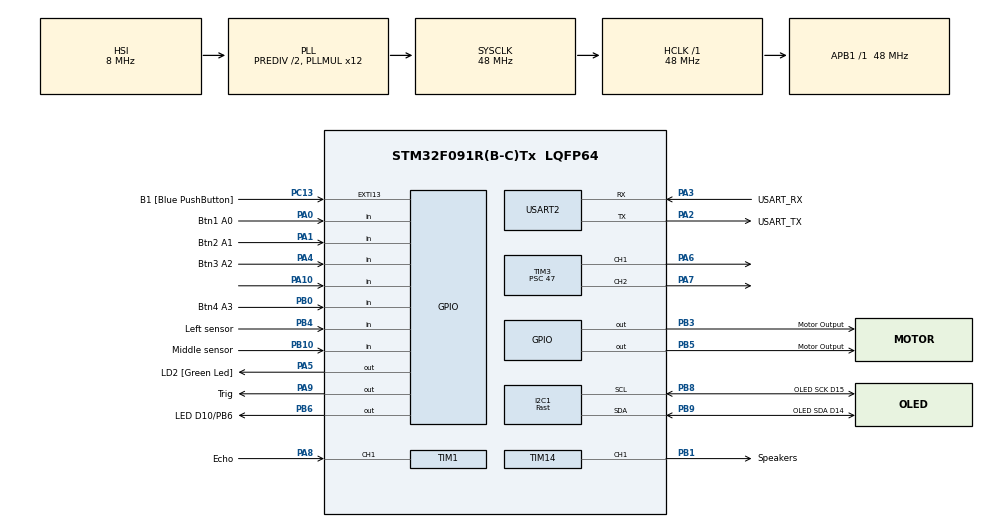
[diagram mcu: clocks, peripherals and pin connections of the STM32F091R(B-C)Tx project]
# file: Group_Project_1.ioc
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FREERTOS.Tasks01=lineFollowing,40,128,lineFollowingTask,Default,NULL,Dynamic,NULL,NULL;buttonPoll,16,256,buttonPollTask,Default,NULL,Dynamic,NULL,NULL;ultrasonicLoop,8,128,ultrasonicTask,Default,NULL,Dynamic,NULL,NULL;sponsors,8,128,sponsorsTask,Default,NULL,Dynamic,NULL,NULL;speaker,8,128,speakerTask,Default,NULL,Dynamic,NULL,NULL
FREERTOS.configMINIMAL_STACK_SIZE=64
FREERTOS.configTOTAL_HEAP_SIZE=4096
I2C1.I2C_Speed_Mode=I2C_Fast
I2C1.Timing=0x0010020A
Mcu.Family=STM32F0
Mcu.Name=STM32F091R(B-C)Tx
Mcu.Package=LQFP64
NVIC.TIM1_CC_IRQn=true\:3\:0\:false\:false\:true\:true\:true\:true\:true
NVIC.TIM6_DAC_IRQn=true\:3\:0\:false\:false\:true\:false\:false\:true\:true
NVIC.TimeBase=TIM6_DAC_IRQn
NVIC.TimeBaseIP=TIM6
PA0.GPIO_Label=Btn1 A0
PA0.GPIO_PuPd=GPIO_PULLDOWN
PA0.Signal=GPIO_Input
PA1.GPIO_Label=Btn2 A1
PA1.GPIO_PuPd=GPIO_PULLDOWN
PA1.Signal=GPIO_Input
PA10.Signal=GPIO_Input
PA13.GPIO_Label=TMS
PA13.Mode=Serial_Wire
PA13.Signal=SYS_SWDIO
PA14.GPIO_Label=TCK
PA14.Mode=Serial_Wire
PA14.Signal=SYS_SWCLK
PA2.GPIO_Label=USART_TX
PA2.GPIO_Mode=GPIO_MODE_AF_PP
PA2.GPIO_PuPd=GPIO_NOPULL
PA2.GPIO_Speed=GPIO_SPEED_FREQ_LOW
PA2.Mode=Asynchronous
PA2.Signal=USART2_TX
PA3.GPIO_Label=USART_RX
PA3.GPIO_Mode=GPIO_MODE_AF_PP
PA3.GPIO_PuPd=GPIO_NOPULL
PA3.GPIO_Speed=GPIO_SPEED_FREQ_LOW
PA3.Mode=Asynchronous
PA3.Signal=USART2_RX
PA4.GPIO_Label=Btn3 A2
PA4.GPIO_PuPd=GPIO_PULLDOWN
PA4.Signal=GPIO_Input
PA5.GPIO_Label=LD2 [Green Led]
PA5.GPIO_PuPd=GPIO_NOPULL
PA5.GPIO_Speed=GPIO_SPEED_FREQ_LOW
PA5.Signal=GPIO_Output
PA6.Signal=S_TIM3_CH1
PA7.Signal=S_TIM3_CH2
PA8.GPIO_Label=Echo 
PA8.Signal=S_TIM1_CH1
PA9.GPIO_Label=Trig
PA9.Signal=GPIO_Output
PB0.GPIO_Label=Btn4 A3
PB0.GPIO_PuPd=GPIO_PULLDOWN
PB0.Signal=GPIO_Input
PB1.GPIO_Label=Speakers
PB1.Signal=S_TIM14_CH1
PB10.GPIO_Label=Middle sensor
PB10.Signal=GPIO_Input
PB3.GPIO_Label=Motor Output
PB3.Signal=GPIO_Output
PB4.GPIO_Label=Left sensor
PB4.Signal=GPIO_Input
PB5.GPIO_Label=Motor Output
PB5.Signal=GPIO_Output
PB6.GPIO_Label=LED D10/PB6
PB6.GPIO_PuPd=GPIO_NOPULL
PB6.Signal=GPIO_Output
PB8.GPIO_Label=OLED SCK D15
PB8.Mode=I2C
PB8.Signal=I2C1_SCL
PB9.GPIO_Label=OLED SDA D14
PB9.Mode=I2C
PB9.Signal=I2C1_SDA
PC13.GPIO_Label=B1 [Blue PushButton]
PC13.GPIO_ModeDefaultEXTI=GPIO_MODE_IT_FALLING
PC13.Signal=GPXTI13
PC14OSC32_IN.Mode=LSE-External-Oscillator
PC14OSC32_IN.Signal=RCC_OSC32_IN
PC15OSC32_OUT.Mode=LSE-External-Oscillator
PC15OSC32_OUT.Signal=RCC_OSC32_OUT
PF0-OSC_IN.Mode=HSE-External-Clock-Source
PF0-OSC_IN.Signal=RCC_OSC_IN
PF1-OSC_OUT.Signal=RCC_OSC_OUT
ProjectManager.HeapSize=0x200
ProjectManager.StackSize=0x400
ProjectManager.TargetToolchain=STM32CubeIDE
RCC.AHBFreq_Value=48000000
RCC.APB1Freq_Value=48000000
RCC.APB1TimFreq_Value=48000000
RCC.FLatency-AdvancedSettings=FLASH_LATENCY_1
RCC.HCLKFreq_Value=48000000
RCC.PLLDivider=RCC_PREDIV_DIV2
RCC.PLLMUL=RCC_PLL_MUL12
RCC.PREFETCH_ENABLE-AdvancedSettings=1
RCC.SYSCLKFreq_VALUE=48000000
RCC.SYSCLKSource=RCC_SYSCLKSOURCE_PLLCLK
SH.S_TIM14_CH1.0=TIM14_CH1,PWM Generation1 CH1
SH.S_TIM1_CH1.0=TIM1_CH1,Input_Capture1_from_TI1
SH.S_TIM3_CH1.0=TIM3_CH1,PWM Generation1 CH1
SH.S_TIM3_CH2.0=TIM3_CH2,PWM Generation2 CH2
TIM1.Channel-Input_Capture1_from_TI1=TIM_CHANNEL_1
TIM1.Prescaler=47
TIM14.Channel=TIM_CHANNEL_1
TIM3.Channel-PWM\ Generation1\ CH1=TIM_CHANNEL_1
TIM3.Channel-PWM\ Generation2\ CH2=TIM_CHANNEL_2
TIM3.Period=999
TIM3.Prescaler=47
USART2.VirtualMode=VM_ASYNC
USART2.VirtualMode-Asynchronous=VM_ASYNC
VP_FREERTOS_VS_CMSIS_V2.Mode=CMSIS_V2
VP_SYS_VS_tim6.Mode=TIM6
VP_TIM14_VS_ClockSourceINT.Mode=Enable_Timer
VP_TIM3_VS_ClockSourceINT.Mode=Internal
board=NUCLEO-F091RC

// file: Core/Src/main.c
/* USER CODE BEGIN Header */
/**
 ******************************************************************************
 * @file           : main.c
 * @brief          : Main program body
 ******************************************************************************
 * @attention
 *
 * Copyright (c) 2025 STMicroelectronics.
 * All rights reserved.
 *
 * This software is licensed under terms that can be found in the LICENSE file
 * in the root directory of this software component.
 * If no LICENSE file comes with this software, it is provided AS-IS.
 *
 ******************************************************************************
 */
/* USER CODE END Header */
#include "main.h"
#include "cmsis_os.h"

/* USER CODE BEGIN Includes */
#include "fonts.h"
#include "ssd1306.h"
#include "task.h"
#include "line_following.h"
#include <stdio.h>
#include <string.h>
/* USER CODE END Includes */

/* USER CODE BEGIN PD */
int go;
int hazard;
int complete_lap;
int finished;

#define Do  0.5f
#define Re  0.45f
#define Mi  0.4f
#define Fa  0.36f
#define So  0.33f
#define La  0.31f
#define Si  0.3f
#define No  0.0f   // No sound (pause)
// Beat durations (in seconds)
#define b1  0.5f
#define b2  0.25f
#define b3  0.125f
#define b4  0.075f

volatile uint8_t volume_high = 1;   // high or low volume for the speaker
volatile uint16_t k = 0;
// Melody definition
// Current note index

float note[] = { Re, Fa, Fa, Re, Mi, So, So, No, Mi, Fa, Fa, Re, Mi, So, So, No,
		Do, Mi, Re, No, Do, Re, No, Mi, Fa, So, No, So, No, So, Fa, Mi, So, No,
		So, Fa, Re, No, Re, No, };
float beat[] = { b1, b2, b2, b2, b2, b2, b2, b1, b1, b2, b3, b3, b1, b3, b2, b1,
		b3, b4, b3, b3, b3, b3, b3, b1, b1, b1, b2, b1, b2, b2, b3, b3, b4, b2,
		b2, b2, b2, b3, b1, b1, };
//start up tune
uint16_t noteCount;

float note2[] = { Do, So, No, Do, So, No };
float beat2[] = { b3, b3, b4, b3, b3, b4 };
//alarm/hazard tune
//note sequence and length
uint16_t noteCount_2;
/* USER CODE END PD */

I2C_HandleTypeDef hi2c1;

TIM_HandleTypeDef htim1;
TIM_HandleTypeDef htim3;
TIM_HandleTypeDef htim14;

UART_HandleTypeDef huart2;

/* Definitions for lineFollowing */
osThreadId_t lineFollowingHandle;
const osThreadAttr_t lineFollowing_attributes = {
  .name = "lineFollowing",
  .stack_size = 128 * 4,
  .priority = (osPriority_t) osPriorityHigh,
};
/* Definitions for buttonPoll */
osThreadId_t buttonPollHandle;
const osThreadAttr_t buttonPoll_attributes = {
  .name = "buttonPoll",
  .stack_size = 256 * 4,
  .priority = (osPriority_t) osPriorityBelowNormal,
};
/* Definitions for ultrasonicLoop */
osThreadId_t ultrasonicLoopHandle;
const osThreadAttr_t ultrasonicLoop_attributes = {
  .name = "ultrasonicLoop",
  .stack_size = 128 * 4,
  .priority = (osPriority_t) osPriorityLow,
};
/* Definitions for sponsors */
osThreadId_t sponsorsHandle;
const osThreadAttr_t sponsors_attributes = {
  .name = "sponsors",
  .stack_size = 128 * 4,
  .priority = (osPriority_t) osPriorityLow,
};
/* Definitions for speaker */
osThreadId_t speakerHandle;
const osThreadAttr_t speaker_attributes = {
  .name = "speaker",
  .stack_size = 128 * 4,
  .priority = (osPriority_t) osPriorityLow,
};
/* USER CODE BEGIN PV */

// State flags
uint8_t show_logo = 1;
uint8_t moving_forward = 0;
bool object_in_path = false;

// Button debounce
#define DEBOUNCE_MS 200
uint32_t btn1_last = 0;
uint32_t btn2_last = 0;
uint32_t btn3_last = 0;
uint32_t btn4_last = 0;

#define LOGO_LED_GPIO_PORT   GPIOB
#define LOGO_LED_PIN         GPIO_PIN_6   // D10

void blink_logo_led(uint8_t times);

/* USER CODE END PV */

void SystemClock_Config(void);
static void MX_GPIO_Init(void);
static void MX_USART2_UART_Init(void);
static void MX_I2C1_Init(void);
static void MX_TIM1_Init(void);
static void MX_TIM3_Init(void);
static void MX_TIM14_Init(void);
void lineFollowingTask(void *argument);
void buttonPollTask(void *argument);
void ultrasonicTask(void *argument);
void sponsorsTask(void *argument);
void speakerTask(void *argument);

/* USER CODE BEGIN PFP */
void delay(uint16_t time);
void HCSR04_Read(void);

void display_menu(void);
void display_logo(void);
void display_lap_times(void);
void blink_logo_led(uint8_t times);
void poll_buttons(void);
/* USER CODE END PFP */

/* USER CODE BEGIN 0 */

uint32_t IC_Val1 = 0;
uint32_t IC_Val2 = 0;
uint32_t Difference = 0;
uint8_t Is_First_Captured = 0;
uint16_t Distance = 0;
uint16_t Last_Valid_Distance = 0;
uint8_t sponsor_index = 0;
bool is_sponsor_loop = false;
int sponsor_loop_index = 0;
bool lap_display = false;
int lap_display_index = 0;
bool request_playNote = false;
bool request_playNote2 = false;
uint32_t stopped_start_tick;
bool stored_stop_tick = false;
uint32_t button_stopped_start_tick;
bool button_stored_stop_tick = false;
bool last_lap_displayed_raw = false;
int ultrasonic_count = 0;

#define TRIG_PIN GPIO_PIN_9
#define TRIG_PORT GPIOA

// Let's write the callback function
// HCSR-04 Tutorial used, source: https://www.youtube.com/watch?v=ti_1ZwRolU4&t=7s

void delay(uint16_t time) {
	__HAL_TIM_SET_COUNTER(&htim1, 0);
	while (__HAL_TIM_GET_COUNTER(&htim1) < time)
		;
}

void HAL_TIM_IC_CaptureCallback(TIM_HandleTypeDef *htim) {
	if (htim->Channel == HAL_TIM_ACTIVE_CHANNEL_1) // if the interrupt source is channel1
			{
		if (Is_First_Captured == 0) // if the first value is not captured
				{
			IC_Val1 = HAL_TIM_ReadCapturedValue(htim, TIM_CHANNEL_1); // read the first value
			Is_First_Captured = 1;  // set the first captured as true
			// Now change the polarity to falling edge
			__HAL_TIM_SET_CAPTUREPOLARITY(htim, TIM_CHANNEL_1,
					TIM_INPUTCHANNELPOLARITY_FALLING);
		}

		else if (Is_First_Captured == 1)   // if the first is already captured
				{
			IC_Val2 = HAL_TIM_ReadCapturedValue(htim, TIM_CHANNEL_1); // read second value
			__HAL_TIM_SET_COUNTER(htim, 0);  // reset the counter

			if (IC_Val2 > IC_Val1) {
				Difference = IC_Val2 - IC_Val1;
			}

			else if (IC_Val1 > IC_Val2) {
				Difference = (0xffff - IC_Val1) + IC_Val2;
			}

			Distance = Difference * 0.034 / 2;

//			if (newDistance <= 50) {
//				// Accept the reading
//				Distance = newDistance;
//				Last_Valid_Distance = newDistance;
//			} else {
//				// Ignore bad values, keep last good one
//				Distance = Last_Valid_Distance;
//			}

			Is_First_Captured = 0; // set it back to false

			// set polarity to rising edge
			__HAL_TIM_SET_CAPTUREPOLARITY(htim, TIM_CHANNEL_1,
					TIM_INPUTCHANNELPOLARITY_RISING);
			__HAL_TIM_DISABLE_IT(&htim1, TIM_IT_CC1);
		}
	}
}

void HCSR04_Read(void) {
	taskENTER_CRITICAL(); // disable interrupts for timing
	HAL_GPIO_WritePin(TRIG_PORT, TRIG_PIN, GPIO_PIN_SET); // pull the TRIG pin HIGH
	delay(10);  // wait for 10 us
	HAL_GPIO_WritePin(TRIG_PORT, TRIG_PIN, GPIO_PIN_RESET); // pull the TRIG pin low

	__HAL_TIM_ENABLE_IT(&htim1, TIM_IT_CC1);
	taskEXIT_CRITICAL(); // enable interrupts
}

char string[20];

void playNote(void) {
	for (k = 0; k < noteCount; k++) {
// If "No" (pause), turn speaker PWM off
		if (note[k] == No) {
			__HAL_TIM_SET_COMPARE(&htim14, TIM_CHANNEL_1, 0);
		} else {
// Calculate PWM period for this note
			float period = 0.005f * note[k];
			uint32_t timerClock = HAL_RCC_GetPCLK1Freq();
			uint32_t prescaler = htim14.Init.Prescaler + 1;
			uint32_t arr = (uint32_t) ((timerClock / prescaler) * period);
			__HAL_TIM_SET_AUTORELOAD(&htim14, arr);
// Set PWM duty cycle (volume)
			uint32_t duty = volume_high ? (arr * 0.8f) : (arr * 0.1f);
			__HAL_TIM_SET_COMPARE(&htim14, TIM_CHANNEL_1, duty);

			osDelay((uint32_t) ((beat[k] * 1000 + 200)));
		}
	}
}
void playNote2(void) {
	for (k = 0; k < noteCount_2; k++) {
		if (note2[k] == No) {
			__HAL_TIM_SET_COMPARE(&htim14, TIM_CHANNEL_1, 0);
		} else {
			float period = 0.005f * note2[k];
			uint32_t timerClock = HAL_RCC_GetPCLK1Freq();
			uint32_t prescaler = htim14.Init.Prescaler + 1;
			uint32_t arr = (uint32_t) ((timerClock / prescaler) * period);

			__HAL_TIM_SET_AUTORELOAD(&htim14, arr);
			uint32_t duty = volume_high ? (arr * 0.8f) : (arr * 0.1f);
			__HAL_TIM_SET_COMPARE(&htim14, TIM_CHANNEL_1, duty);

			osDelay((uint32_t) ((beat2[k] * 1000 + 200)));
		}
	}
}
/* USER CODE END 0 */

int main(void)
{

  /* MCU Configuration--------------------------------------------------------*/

  /* Reset of all peripherals, Initializes the Flash interface and the Systick. */
  HAL_Init();

  /* Configure the system clock */
  SystemClock_Config();

  /* Initialize all configured peripherals */
  MX_GPIO_Init();
  MX_USART2_UART_Init();
  MX_I2C1_Init();
  MX_TIM1_Init();
  MX_TIM3_Init();
  MX_TIM14_Init();
  /* USER CODE BEGIN 2 */
	SSD1306_Init();
	display_menu();
	HAL_TIM_Base_Start(&htim1);
	HAL_TIM_IC_Start_IT(&htim1, TIM_CHANNEL_1);
	HAL_TIM_PWM_Start(&htim3, TIM_CHANNEL_1);
	HAL_TIM_PWM_Start(&htim3, TIM_CHANNEL_2);
	HAL_TIM_PWM_Start(&htim14, TIM_CHANNEL_1); // Speaker

  /* USER CODE END 2 */

  /* Init scheduler */
  osKernelInitialize();

  /* Create the thread(s) */
  /* creation of lineFollowing */
  lineFollowingHandle = osThreadNew(lineFollowingTask, NULL, &lineFollowing_attributes);

  /* creation of buttonPoll */
  buttonPollHandle = osThreadNew(buttonPollTask, NULL, &buttonPoll_attributes);

  /* creation of ultrasonicLoop */
  ultrasonicLoopHandle = osThreadNew(ultrasonicTask, NULL, &ultrasonicLoop_attributes);

  /* creation of sponsors */
  sponsorsHandle = osThreadNew(sponsorsTask, NULL, &sponsors_attributes);

  /* creation of speaker */
  speakerHandle = osThreadNew(speakerTask, NULL, &speaker_attributes);

  /* Start scheduler */
  osKernelStart();

  /* We should never get here as control is now taken by the scheduler */

  /* Infinite loop */
	while (1) {

	}
}

void SystemClock_Config(void)
{
  RCC_OscInitTypeDef RCC_OscInitStruct = {0};
  RCC_ClkInitTypeDef RCC_ClkInitStruct = {0};
  RCC_PeriphCLKInitTypeDef PeriphClkInit = {0};

  /** Initializes the RCC Oscillators according to the specified parameters
  * in the RCC_OscInitTypeDef structure.
  */
  RCC_OscInitStruct.OscillatorType = RCC_OSCILLATORTYPE_HSI;
  RCC_OscInitStruct.HSIState = RCC_HSI_ON;
  RCC_OscInitStruct.HSICalibrationValue = RCC_HSICALIBRATION_DEFAULT;
  RCC_OscInitStruct.PLL.PLLState = RCC_PLL_ON;
  RCC_OscInitStruct.PLL.PLLSource = RCC_PLLSOURCE_HSI;
  RCC_OscInitStruct.PLL.PLLMUL = RCC_PLL_MUL12;
  RCC_OscInitStruct.PLL.PREDIV = RCC_PREDIV_DIV2;
  if (HAL_RCC_OscConfig(&RCC_OscInitStruct) != HAL_OK)
  {
    Error_Handler();
  }

  /** Initializes the CPU, AHB and APB buses clocks
  */
  RCC_ClkInitStruct.ClockType = RCC_CLOCKTYPE_HCLK|RCC_CLOCKTYPE_SYSCLK
                              |RCC_CLOCKTYPE_PCLK1;
  RCC_ClkInitStruct.SYSCLKSource = RCC_SYSCLKSOURCE_PLLCLK;
  RCC_ClkInitStruct.AHBCLKDivider = RCC_SYSCLK_DIV1;
  RCC_ClkInitStruct.APB1CLKDivider = RCC_HCLK_DIV1;

  if (HAL_RCC_ClockConfig(&RCC_ClkInitStruct, FLASH_LATENCY_1) != HAL_OK)
  {
    Error_Handler();
  }
  PeriphClkInit.PeriphClockSelection = RCC_PERIPHCLK_USART2|RCC_PERIPHCLK_I2C1;
  PeriphClkInit.Usart2ClockSelection = RCC_USART2CLKSOURCE_PCLK1;
  PeriphClkInit.I2c1ClockSelection = RCC_I2C1CLKSOURCE_HSI;
  if (HAL_RCCEx_PeriphCLKConfig(&PeriphClkInit) != HAL_OK)
  {
    Error_Handler();
  }
}

static void MX_I2C1_Init(void)
{

  hi2c1.Instance = I2C1;
  hi2c1.Init.Timing = 0x0010020A;
  hi2c1.Init.OwnAddress1 = 0;
  hi2c1.Init.AddressingMode = I2C_ADDRESSINGMODE_7BIT;
  hi2c1.Init.DualAddressMode = I2C_DUALADDRESS_DISABLE;
  hi2c1.Init.OwnAddress2 = 0;
  hi2c1.Init.OwnAddress2Masks = I2C_OA2_NOMASK;
  hi2c1.Init.GeneralCallMode = I2C_GENERALCALL_DISABLE;
  hi2c1.Init.NoStretchMode = I2C_NOSTRETCH_DISABLE;
  if (HAL_I2C_Init(&hi2c1) != HAL_OK)
  {
    Error_Handler();
  }

  /** Configure Analogue filter
  */
  if (HAL_I2CEx_ConfigAnalogFilter(&hi2c1, I2C_ANALOGFILTER_ENABLE) != HAL_OK)
  {
    Error_Handler();
  }

  /** Configure Digital filter
  */
  if (HAL_I2CEx_ConfigDigitalFilter(&hi2c1, 0) != HAL_OK)
  {
    Error_Handler();
  }

}

static void MX_TIM1_Init(void)
{

  TIM_MasterConfigTypeDef sMasterConfig = {0};
  TIM_IC_InitTypeDef sConfigIC = {0};

  htim1.Instance = TIM1;
  htim1.Init.Prescaler = 47;
  htim1.Init.CounterMode = TIM_COUNTERMODE_UP;
  htim1.Init.Period = 65535;
  htim1.Init.ClockDivision = TIM_CLOCKDIVISION_DIV1;
  htim1.Init.RepetitionCounter = 0;
  htim1.Init.AutoReloadPreload = TIM_AUTORELOAD_PRELOAD_DISABLE;
  if (HAL_TIM_IC_Init(&htim1) != HAL_OK)
  {
    Error_Handler();
  }
  sMasterConfig.MasterOutputTrigger = TIM_TRGO_RESET;
  sMasterConfig.MasterSlaveMode = TIM_MASTERSLAVEMODE_DISABLE;
  if (HAL_TIMEx_MasterConfigSynchronization(&htim1, &sMasterConfig) != HAL_OK)
  {
    Error_Handler();
  }
  sConfigIC.ICPolarity = TIM_INPUTCHANNELPOLARITY_RISING;
  sConfigIC.ICSelection = TIM_ICSELECTION_DIRECTTI;
  sConfigIC.ICPrescaler = TIM_ICPSC_DIV1;
  sConfigIC.ICFilter = 0;
  if (HAL_TIM_IC_ConfigChannel(&htim1, &sConfigIC, TIM_CHANNEL_1) != HAL_OK)
  {
    Error_Handler();
  }

}

static void MX_TIM3_Init(void)
{

  TIM_ClockConfigTypeDef sClockSourceConfig = {0};
  TIM_MasterConfigTypeDef sMasterConfig = {0};
  TIM_OC_InitTypeDef sConfigOC = {0};

  htim3.Instance = TIM3;
  htim3.Init.Prescaler = 47;
  htim3.Init.CounterMode = TIM_COUNTERMODE_UP;
  htim3.Init.Period = 999;
  htim3.Init.ClockDivision = TIM_CLOCKDIVISION_DIV1;
  htim3.Init.AutoReloadPreload = TIM_AUTORELOAD_PRELOAD_DISABLE;
  if (HAL_TIM_Base_Init(&htim3) != HAL_OK)
  {
    Error_Handler();
  }
  sClockSourceConfig.ClockSource = TIM_CLOCKSOURCE_INTERNAL;
  if (HAL_TIM_ConfigClockSource(&htim3, &sClockSourceConfig) != HAL_OK)
  {
    Error_Handler();
  }
  if (HAL_TIM_PWM_Init(&htim3) != HAL_OK)
  {
    Error_Handler();
  }
  sMasterConfig.MasterOutputTrigger = TIM_TRGO_RESET;
  sMasterConfig.MasterSlaveMode = TIM_MASTERSLAVEMODE_DISABLE;
  if (HAL_TIMEx_MasterConfigSynchronization(&htim3, &sMasterConfig) != HAL_OK)
  {
    Error_Handler();
  }
  sConfigOC.OCMode = TIM_OCMODE_PWM1;
  sConfigOC.Pulse = 0;
  sConfigOC.OCPolarity = TIM_OCPOLARITY_HIGH;
  sConfigOC.OCFastMode = TIM_OCFAST_DISABLE;
  if (HAL_TIM_PWM_ConfigChannel(&htim3, &sConfigOC, TIM_CHANNEL_1) != HAL_OK)
  {
    Error_Handler();
  }
  if (HAL_TIM_PWM_ConfigChannel(&htim3, &sConfigOC, TIM_CHANNEL_2) != HAL_OK)
  {
    Error_Handler();
  }
  HAL_TIM_MspPostInit(&htim3);

}

static void MX_TIM14_Init(void)
{

  TIM_OC_InitTypeDef sConfigOC = {0};

  htim14.Instance = TIM14;
  htim14.Init.Prescaler = 0;
  htim14.Init.CounterMode = TIM_COUNTERMODE_UP;
  htim14.Init.Period = 65535;
  htim14.Init.ClockDivision = TIM_CLOCKDIVISION_DIV1;
  htim14.Init.AutoReloadPreload = TIM_AUTORELOAD_PRELOAD_DISABLE;
  if (HAL_TIM_Base_Init(&htim14) != HAL_OK)
  {
    Error_Handler();
  }
  if (HAL_TIM_PWM_Init(&htim14) != HAL_OK)
  {
    Error_Handler();
  }
  sConfigOC.OCMode = TIM_OCMODE_PWM1;
  sConfigOC.Pulse = 0;
  sConfigOC.OCPolarity = TIM_OCPOLARITY_HIGH;
  sConfigOC.OCFastMode = TIM_OCFAST_DISABLE;
  if (HAL_TIM_PWM_ConfigChannel(&htim14, &sConfigOC, TIM_CHANNEL_1) != HAL_OK)
  {
    Error_Handler();
  }
  HAL_TIM_MspPostInit(&htim14);

}

static void MX_USART2_UART_Init(void)
{

  huart2.Instance = USART2;
  huart2.Init.BaudRate = 115200;
  huart2.Init.WordLength = UART_WORDLENGTH_8B;
  huart2.Init.StopBits = UART_STOPBITS_1;
  huart2.Init.Parity = UART_PARITY_NONE;
  huart2.Init.Mode = UART_MODE_TX_RX;
  huart2.Init.HwFlowCtl = UART_HWCONTROL_NONE;
  huart2.Init.OverSampling = UART_OVERSAMPLING_16;
  huart2.Init.OneBitSampling = UART_ONE_BIT_SAMPLE_DISABLE;
  huart2.AdvancedInit.AdvFeatureInit = UART_ADVFEATURE_NO_INIT;
  if (HAL_UART_Init(&huart2) != HAL_OK)
  {
    Error_Handler();
  }

}

static void MX_GPIO_Init(void)
{
  GPIO_InitTypeDef GPIO_InitStruct = {0};

  /* GPIO Ports Clock Enable */
  __HAL_RCC_GPIOC_CLK_ENABLE();
  __HAL_RCC_GPIOF_CLK_ENABLE();
  __HAL_RCC_GPIOA_CLK_ENABLE();
  __HAL_RCC_GPIOB_CLK_ENABLE();

  /*Configure GPIO pin Output Level */
  HAL_GPIO_WritePin(GPIOA, LD2_Pin|Trig_Pin, GPIO_PIN_RESET);

  /*Configure GPIO pin Output Level */
  HAL_GPIO_WritePin(GPIOB, Motor_Output_Pin|Motor_OutputB5_Pin|LED_D10_PB6_Pin, GPIO_PIN_RESET);

  /*Configure GPIO pin : B1_Pin */
  GPIO_InitStruct.Pin = B1_Pin;
  GPIO_InitStruct.Mode = GPIO_MODE_IT_FALLING;
  GPIO_InitStruct.Pull = GPIO_NOPULL;
  HAL_GPIO_Init(B1_GPIO_Port, &GPIO_InitStruct);

  /*Configure GPIO pins : Btn1_A0_Pin Btn2_A1_Pin Btn3_A2_Pin */
  GPIO_InitStruct.Pin = Btn1_A0_Pin|Btn2_A1_Pin|Btn3_A2_Pin;
  GPIO_InitStruct.Mode = GPIO_MODE_INPUT;
  GPIO_InitStruct.Pull = GPIO_PULLDOWN;
  HAL_GPIO_Init(GPIOA, &GPIO_InitStruct);

  /*Configure GPIO pins : LD2_Pin Trig_Pin */
  GPIO_InitStruct.Pin = LD2_Pin|Trig_Pin;
  GPIO_InitStruct.Mode = GPIO_MODE_OUTPUT_PP;
  GPIO_InitStruct.Pull = GPIO_NOPULL;
  GPIO_InitStruct.Speed = GPIO_SPEED_FREQ_LOW;
  HAL_GPIO_Init(GPIOA, &GPIO_InitStruct);

  /*Configure GPIO pin : Btn4_A3_Pin */
  GPIO_InitStruct.Pin = Btn4_A3_Pin;
  GPIO_InitStruct.Mode = GPIO_MODE_INPUT;
  GPIO_InitStruct.Pull = GPIO_PULLDOWN;
  HAL_GPIO_Init(Btn4_A3_GPIO_Port, &GPIO_InitStruct);

  /*Configure GPIO pins : Middle_sensor_Pin Left_sensor_Pin */
  GPIO_InitStruct.Pin = Middle_sensor_Pin|Left_sensor_Pin;
  GPIO_InitStruct.Mode = GPIO_MODE_INPUT;
  GPIO_InitStruct.Pull = GPIO_NOPULL;
  HAL_GPIO_Init(GPIOB, &GPIO_InitStruct);

  /*Configure GPIO pin : PA10 */
  GPIO_InitStruct.Pin = GPIO_PIN_10;
  GPIO_InitStruct.Mode = GPIO_MODE_INPUT;
  GPIO_InitStruct.Pull = GPIO_NOPULL;
  HAL_GPIO_Init(GPIOA, &GPIO_InitStruct);

  /*Configure GPIO pins : Motor_Output_Pin Motor_OutputB5_Pin LED_D10_PB6_Pin */
  GPIO_InitStruct.Pin = Motor_Output_Pin|Motor_OutputB5_Pin|LED_D10_PB6_Pin;
  GPIO_InitStruct.Mode = GPIO_MODE_OUTPUT_PP;
  GPIO_InitStruct.Pull = GPIO_NOPULL;
  GPIO_InitStruct.Speed = GPIO_SPEED_FREQ_LOW;
  HAL_GPIO_Init(GPIOB, &GPIO_InitStruct);

}

/* USER CODE BEGIN 4 */
void display_menu(void) {
	taskENTER_CRITICAL(); // disable interrupts
	SSD1306_Clear();

	SSD1306_GotoXY(5, 0);
	SSD1306_Puts("B1: Sponsors", &Font_7x10, 1);

	SSD1306_GotoXY(5, 12);
	SSD1306_Puts("B2: Lap Times", &Font_7x10, 1);

	SSD1306_GotoXY(5, 24);
	SSD1306_Puts("B3: Line Following", &Font_7x10, 1);

	SSD1306_GotoXY(5, 36);
	SSD1306_Puts("B4: Main Menu", &Font_7x10, 1);

	SSD1306_UpdateScreen();
	taskEXIT_CRITICAL(); // enable interrupts
}

const char *sponsors[3] = { "DMC Motors", "Libyan Plutonium",
		"BiffCo Enterprise" };

// DMC logo
void draw_dmc_logo(void) {
	taskENTER_CRITICAL(); // disable interrupts

	SSD1306_DrawCircle(64, 24, 14, SSD1306_COLOR_WHITE);

	SSD1306_DrawFilledRectangle(45, 18, 38, 12, SSD1306_COLOR_WHITE);

	SSD1306_GotoXY(54, 20);
	SSD1306_Puts("DMC", &Font_7x10, SSD1306_COLOR_BLACK);
	taskEXIT_CRITICAL(); // enable interrupts
}

// Flux Capacitor logo
void draw_flux_capacitor(void) {
	taskENTER_CRITICAL(); // disable interrupts
	// Centre point of OLED screen
	int cx = 64;
	int cy = 22;
	// Circle radiuses
	int radius = 5;
	// Top circle
	int topX = cx;
	int topY = cy - 14;
	// Left circle
	int leftX = cx - 18;
	int leftY = cy + 10;
	// Right circle
	int rightX = cx + 18;
	int rightY = cy + 10;

	SSD1306_DrawCircle(topX, topY, radius, SSD1306_COLOR_WHITE);
	SSD1306_DrawCircle(leftX, leftY, radius, SSD1306_COLOR_WHITE);
	SSD1306_DrawCircle(rightX, rightY, radius, SSD1306_COLOR_WHITE);

	// Lines between circles
	SSD1306_DrawLine(topX, topY + radius, cx, cy, SSD1306_COLOR_WHITE);
	SSD1306_DrawLine(leftX + radius, leftY - radius, cx, cy,
			SSD1306_COLOR_WHITE);
	SSD1306_DrawLine(rightX - radius, rightY - radius, cx, cy,
			SSD1306_COLOR_WHITE);
	taskEXIT_CRITICAL(); // enable interrupts
}

//BiffCo logo
void draw_biffco_logo(void) {
	taskENTER_CRITICAL(); // disable interrupts

	// Outer and inner Rectangles
	SSD1306_DrawRectangle(34, 6, 60, 30, SSD1306_COLOR_WHITE);
	SSD1306_DrawRectangle(36, 8, 56, 26, SSD1306_COLOR_WHITE);

	// Diagonal line within rectangle
	SSD1306_DrawLine(34, 6, 94, 30, SSD1306_COLOR_WHITE);
	SSD1306_DrawLine(36, 8, 92, 28, SSD1306_COLOR_WHITE);

	SSD1306_GotoXY(60, 12);
	SSD1306_Puts("B", &Font_11x18, SSD1306_COLOR_WHITE);
	taskEXIT_CRITICAL(); // enable interrupts
}

void display_logo(void) {
	taskENTER_CRITICAL(); // disable interrupts
	SSD1306_Clear();

	if (sponsor_index == 0) {
		draw_dmc_logo();
	} else if (sponsor_index == 1) {
		draw_flux_capacitor();
	} else if (sponsor_index == 2) {
		draw_biffco_logo();
	}

	SSD1306_GotoXY(10, 40);
	SSD1306_Puts("Sponsored by:", &Font_7x10, SSD1306_COLOR_WHITE);

	SSD1306_GotoXY(10, 52);
	SSD1306_Puts(sponsors[sponsor_index], &Font_7x10, SSD1306_COLOR_WHITE);

	SSD1306_UpdateScreen();
	taskEXIT_CRITICAL(); // enable interrupts
}

void display_lap_times(void) {
	taskENTER_CRITICAL(); // disable interrupts
	SSD1306_Clear();
	char buf[32];
	int seconds;
	int tenths;
	int speedOnes;
	int speedMills;

	// ---------- LAP 1 ----------
	seconds = last_three_lap_times[0] / 1000;
	tenths = (last_three_lap_times[0] / 100) % 10;
	snprintf(buf, sizeof(buf), "Lap1: %d.%d sec", seconds, tenths);
	SSD1306_GotoXY(5, 0);
	SSD1306_Puts(buf, &Font_7x10, 1);

	speedOnes = last_three_lap_speeds[0] / 1000;
	speedMills = last_three_lap_speeds[0] % 1000;
	snprintf(buf, sizeof(buf), "Speed: %d.%03dm/s", speedOnes, speedMills);
	SSD1306_GotoXY(5, 10);
	SSD1306_Puts(buf, &Font_7x10, 1);

	// ---------- LAP 2 ----------
	seconds = last_three_lap_times[1] / 1000;
	tenths = (last_three_lap_times[1] / 100) % 10;
	snprintf(buf, sizeof(buf), "Lap2: %d.%d sec", seconds, tenths);
	SSD1306_GotoXY(5, 20);
	SSD1306_Puts(buf, &Font_7x10, 1);

	speedOnes = last_three_lap_speeds[1] / 1000;
	speedMills = last_three_lap_speeds[1] % 1000;
	snprintf(buf, sizeof(buf), "Speed: %d.%03dm/s", speedOnes, speedMills);
	SSD1306_GotoXY(5, 30);
	SSD1306_Puts(buf, &Font_7x10, 1);

	// ---------- LAP 3 ----------
	seconds = last_three_lap_times[2] / 1000;
	tenths = (last_three_lap_times[2] / 100) % 10;
	snprintf(buf, sizeof(buf), "Lap3: %d.%d sec", seconds, tenths);
	SSD1306_GotoXY(5, 40);
	SSD1306_Puts(buf, &Font_7x10, 1);

	speedOnes = last_three_lap_speeds[2] / 1000;
	speedMills = last_three_lap_speeds[2] % 1000;
	snprintf(buf, sizeof(buf), "Speed: %d.%03dm/s", speedOnes, speedMills);
	SSD1306_GotoXY(5, 50);
	SSD1306_Puts(buf, &Font_7x10, 1);

	SSD1306_UpdateScreen();
	taskEXIT_CRITICAL(); // enable interrupts
}

void display_fastest_lap_times(void) {
	taskENTER_CRITICAL(); // disable interrupts
	SSD1306_Clear();
	char buf[32];
	int seconds;
	int tenths;
	int speedOnes;
	int speedMills;
	int fastestIndex;
	int slowestIndex;

	if (last_three_lap_times[0] < last_three_lap_times[1]) {
		fastestIndex = 0;
		slowestIndex = 1;
	} else {
		fastestIndex = 1;
		slowestIndex = 0;
	}
	if (last_three_lap_times[2] < last_three_lap_times[fastestIndex]) {
		fastestIndex = 2;
	}
	if (last_three_lap_times[2] > last_three_lap_times[slowestIndex]) {
		slowestIndex = 2;
	}

	// ---------- Fastest ----------
	seconds = last_three_lap_times[fastestIndex] / 1000;
	tenths = (last_three_lap_times[fastestIndex] / 100) % 10;
	snprintf(buf, sizeof(buf), "Fastest: %d.%d sec", seconds, tenths);
	SSD1306_GotoXY(5, 0);
	SSD1306_Puts(buf, &Font_7x10, 1);

	speedOnes = last_three_lap_speeds[fastestIndex] / 1000;
	speedMills = last_three_lap_speeds[fastestIndex] % 1000;
	snprintf(buf, sizeof(buf), "Speed: %d.%03dm/s", speedOnes, speedMills);
	SSD1306_GotoXY(5, 10);
	SSD1306_Puts(buf, &Font_7x10, 1);

	// ---------- Slowest ----------
	seconds = last_three_lap_times[slowestIndex] / 1000;
	tenths = (last_three_lap_times[slowestIndex] / 100) % 10;
	snprintf(buf, sizeof(buf), "Slowest: %d.%d sec", seconds, tenths);
	SSD1306_GotoXY(5, 20);
	SSD1306_Puts(buf, &Font_7x10, 1);

	speedOnes = last_three_lap_speeds[slowestIndex] / 1000;
	speedMills = last_three_lap_speeds[slowestIndex] % 1000;
	snprintf(buf, sizeof(buf), "Speed: %d.%03dm/s", speedOnes, speedMills);
	SSD1306_GotoXY(5, 30);
	SSD1306_Puts(buf, &Font_7x10, 1);

	// ---------- Average ----------
	uint32_t average_time = (last_three_lap_times[0] + last_three_lap_times[1]
			+ last_three_lap_times[2]) / 3;
	seconds = average_time / 1000;
	tenths = (average_time / 100) % 10;
	snprintf(buf, sizeof(buf), "Average: %d.%d sec", seconds, tenths);
	SSD1306_GotoXY(5, 40);
	SSD1306_Puts(buf, &Font_7x10, 1);

	uint32_t average_speed = (last_three_lap_speeds[0]
			+ last_three_lap_speeds[1] + last_three_lap_speeds[2]) / 3;
	speedOnes = average_speed / 1000;
	speedMills = average_speed % 1000;
	snprintf(buf, sizeof(buf), "Speed: %d.%03dm/s", speedOnes, speedMills);
	SSD1306_GotoXY(5, 50);
	SSD1306_Puts(buf, &Font_7x10, 1);

	SSD1306_UpdateScreen();
	taskEXIT_CRITICAL(); // enable interrupts
}

void display_lap_finished(void) {
	taskENTER_CRITICAL(); // disable interrupts
	SSD1306_Clear();

	SSD1306_GotoXY(5, 5);
	SSD1306_Puts("LAP DONE", &Font_11x18, SSD1306_COLOR_WHITE);

	SSD1306_DrawLine(2, 25, 126, 25, SSD1306_COLOR_WHITE);

	SSD1306_GotoXY(5, 35);
	SSD1306_Puts("1.21 GIGAWATTS", &Font_7x10, SSD1306_COLOR_WHITE);

	SSD1306_GotoXY(5, 48);
	SSD1306_Puts("ACHIEVED", &Font_7x10, SSD1306_COLOR_WHITE);

	SSD1306_UpdateScreen();
	taskEXIT_CRITICAL(); // enable interrupts
}

void blink_logo_led(uint8_t times) {
	for (uint8_t i = 0; i < times; i++) {
		HAL_GPIO_WritePin(LOGO_LED_GPIO_PORT, LOGO_LED_PIN, GPIO_PIN_SET);
		osDelay(500); // LED on for 500 ms

		HAL_GPIO_WritePin(LOGO_LED_GPIO_PORT, LOGO_LED_PIN, GPIO_PIN_RESET);
		osDelay(250); // LED off for 250 ms
	}
}

void poll_buttons(void) {
	static uint8_t btn1_prev = 0;
	static uint8_t btn2_prev = 0;
	static uint8_t btn3_prev = 0;
	static uint8_t btn4_prev = 0;
	uint32_t t = HAL_GetTick();

	uint8_t btn1_now = HAL_GPIO_ReadPin(GPIOA, GPIO_PIN_0);
	uint8_t btn2_now = HAL_GPIO_ReadPin(GPIOA, GPIO_PIN_1);
	uint8_t btn3_now = HAL_GPIO_ReadPin(GPIOA, GPIO_PIN_4);
	uint8_t btn4_now = HAL_GPIO_ReadPin(GPIOB, GPIO_PIN_0);

	// B1: Sponsors
	if (btn1_now == GPIO_PIN_SET && btn1_prev == 0
			&& (t - btn1_last > DEBOUNCE_MS)) {

		is_sponsor_loop = false;
		sponsor_index = (sponsor_index + 1) % 3;
		display_logo();
		// Blink LEDs twice every sponsor switch
		blink_logo_led(2);
		btn1_last = t;
	}

	btn1_prev = btn1_now;

	// B2: Lap times
	if (btn2_now == GPIO_PIN_SET && btn2_prev == 0
			&& (t - btn2_last > DEBOUNCE_MS)) {
		is_sponsor_loop = false;
		if (!last_lap_displayed_raw) {
			display_lap_times();
			last_lap_displayed_raw = true;
		} else {
			display_fastest_lap_times();
			last_lap_displayed_raw = false;
		}
		btn2_last = t;

	}
	btn2_prev = btn2_now;

	// B3: Line following
	if (btn3_now == GPIO_PIN_SET && btn3_prev == 0
			&& (t - btn3_last > DEBOUNCE_MS)) {
		if (moving_forward) {
			moving_forward = 0;
			if (!button_stored_stop_tick) {
				button_stopped_start_tick = HAL_GetTick();
				button_stored_stop_tick = true;
			}
		} else {
			if (button_stored_stop_tick) {
				lap_ticks_stopped += HAL_GetTick() - button_stopped_start_tick;
				button_stored_stop_tick = false;
			}
			moving_forward = 1;
		}
//		moving_forward = moving_forward==1 ? 0 : 1;

		is_sponsor_loop = true;

		btn3_last = t;
	}
	btn3_prev = btn3_now;

	// B4: Main menu
	if (btn4_now == GPIO_PIN_SET && btn4_prev == 0
			&& (t - btn4_last > DEBOUNCE_MS)) {
		is_sponsor_loop = false;
		display_menu();
		btn4_last = t;
	}
	btn4_prev = btn4_now;
}

/* USER CODE END 4 */

void lineFollowingTask(void *argument)
{
  /* USER CODE BEGIN 5 */
	/* Infinite loop */
	for (;;) {
		line_following_loop(&htim3);
		osDelay(10);
	}
  /* USER CODE END 5 */
}

void buttonPollTask(void *argument)
{
  /* USER CODE BEGIN buttonPollTask */
	/* Infinite loop */
	for (;;) {
		poll_buttons();
		osDelay(50);
	}
  /* USER CODE END buttonPollTask */
}

void ultrasonicTask(void *argument)
{
  /* USER CODE BEGIN ultrasonicTask */
	/* Infinite loop */
	for (;;) {
		HCSR04_Read();
		osDelay(200);
		if (Distance < 15) {
			if (ultrasonic_count >= 1) {
				if (moving_forward) {
					request_playNote2 = true;
					if (!stored_stop_tick) {
						stopped_start_tick = HAL_GetTick();
						stored_stop_tick = true;
					}
				}
				object_in_path = true;
			} else {
				ultrasonic_count += 1;
			}
		} else {
			if (ultrasonic_count >= 1) {
				if (stored_stop_tick) {
					lap_ticks_stopped += HAL_GetTick() - stopped_start_tick;
					stored_stop_tick = false;
				}
			}
			object_in_path = false;
			ultrasonic_count = 0;
		}
	}
  /* USER CODE END ultrasonicTask */
}

void sponsorsTask(void *argument)
{
  /* USER CODE BEGIN sponsorsTask */
	/* Infinite loop */
	for (;;) {
		if (lap_display) {
			if (lap_display_index == 0) {
				display_lap_finished();
				lap_display_index += 1;
			} else if (lap_display_index >= 50) {
				lap_display_index = 0;
				lap_display = false;
				sponsor_loop_index = 0;
			} else {
				lap_display_index += 1;
			}
		} else if (is_sponsor_loop) {
			if (sponsor_loop_index == 0) {
				// move to next sponsor
				sponsor_index = (sponsor_index + 1) % 3;
				display_logo();
			}
			if (sponsor_loop_index >= 50) {
				sponsor_loop_index = 0;
			} else {
				sponsor_loop_index += 1;
			}
		} else {
			sponsor_loop_index = 0;
		}
		osDelay(100);
	}
  /* USER CODE END sponsorsTask */
}

void speakerTask(void *argument)
{
  /* USER CODE BEGIN speakerTask */
	noteCount = sizeof(note) / sizeof(note[0]);

	noteCount_2 = sizeof(note2) / sizeof(note2[0]);
	/* Infinite loop */
	for (;;) {
		if (request_playNote) {
			request_playNote = false;
			playNote();
		}
		if (request_playNote2) {
			request_playNote2 = false;
			playNote2();
		}
		osDelay(100);
	}
  /* USER CODE END speakerTask */
}

void HAL_TIM_PeriodElapsedCallback(TIM_HandleTypeDef *htim)
{
  if (htim->Instance == TIM6)
  {
    HAL_IncTick();
  }
}

void Error_Handler(void)
{
	__disable_irq();
	while (1) {
	}
}
